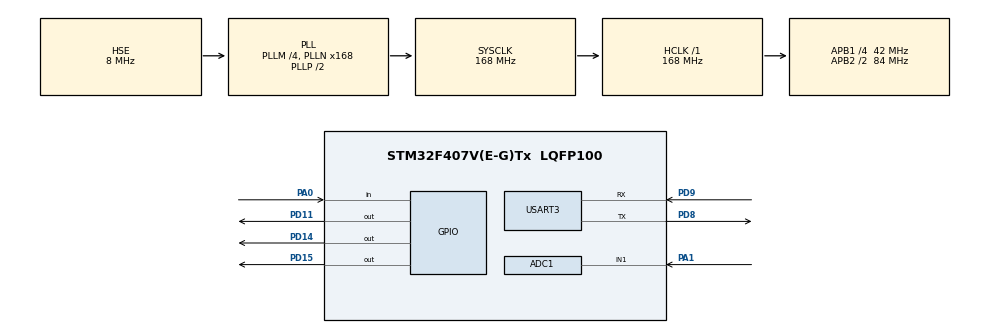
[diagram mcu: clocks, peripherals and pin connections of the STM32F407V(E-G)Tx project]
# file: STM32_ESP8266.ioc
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ADC1.Channel-0\#ChannelRegularConversion=ADC_CHANNEL_1
ADC1.ContinuousConvMode=ENABLE
ADC1.DMAContinuousRequests=ENABLE
ADC1.EOCSelection=ADC_EOC_SEQ_CONV
ADC1.NbrOfConversion=1
ADC1.NbrOfConversionFlag=1
ADC1.Rank-0\#ChannelRegularConversion=1
ADC1.SamplingTime-0\#ChannelRegularConversion=ADC_SAMPLETIME_56CYCLES
ADC1.ScanConvMode=DISABLE
ADC1.master=1
Dma.ADC1.0.Direction=DMA_PERIPH_TO_MEMORY
Dma.ADC1.0.FIFOMode=DMA_FIFOMODE_DISABLE
Dma.ADC1.0.Instance=DMA2_Stream4
Dma.ADC1.0.MemDataAlignment=DMA_MDATAALIGN_HALFWORD
Dma.ADC1.0.MemInc=DMA_MINC_ENABLE
Dma.ADC1.0.Mode=DMA_CIRCULAR
Dma.ADC1.0.PeriphDataAlignment=DMA_PDATAALIGN_HALFWORD
Dma.ADC1.0.PeriphInc=DMA_PINC_DISABLE
Dma.ADC1.0.Priority=DMA_PRIORITY_HIGH
Dma.Request0=ADC1
Mcu.Family=STM32F4
Mcu.Name=STM32F407V(E-G)Tx
Mcu.Package=LQFP100
NVIC.DMA2_Stream4_IRQn=true\:0\:0\:false\:false\:true\:false\:true
NVIC.PriorityGroup=NVIC_PRIORITYGROUP_4
NVIC.USART3_IRQn=true\:0\:0\:false\:false\:true\:true\:true
PA0-WKUP.Signal=GPIO_Input
PA1.Signal=ADCx_IN1
PD11.Signal=GPIO_Output
PD14.Signal=GPIO_Output
PD15.Signal=GPIO_Output
PD8.Mode=Asynchronous
PD8.Signal=USART3_TX
PD9.Mode=Asynchronous
PD9.Signal=USART3_RX
PH0-OSC_IN.Mode=HSE-External-Oscillator
PH0-OSC_IN.Signal=RCC_OSC_IN
PH1-OSC_OUT.Mode=HSE-External-Oscillator
PH1-OSC_OUT.Signal=RCC_OSC_OUT
ProjectManager.HeapSize=0x200
ProjectManager.StackSize=0x400
ProjectManager.TargetToolchain=STM32CubeIDE
RCC.48MHZClocksFreq_Value=84000000
RCC.AHBFreq_Value=168000000
RCC.APB1CLKDivider=RCC_HCLK_DIV4
RCC.APB1Freq_Value=42000000
RCC.APB1TimFreq_Value=84000000
RCC.APB2CLKDivider=RCC_HCLK_DIV2
RCC.APB2Freq_Value=84000000
RCC.APB2TimFreq_Value=168000000
RCC.CortexFreq_Value=168000000
RCC.HCLKFreq_Value=168000000
RCC.HSE_VALUE=8000000
RCC.HSI_VALUE=16000000
RCC.LSE_VALUE=32768
RCC.PLLM=4
RCC.PLLN=168
RCC.PLLSourceVirtual=RCC_PLLSOURCE_HSE
RCC.SYSCLKFreq_VALUE=168000000
RCC.SYSCLKSource=RCC_SYSCLKSOURCE_PLLCLK
RCC.VCOOutputFreq_Value=336000000
SH.ADCx_IN1.0=ADC1_IN1,IN1
USART3.VirtualMode=VM_ASYNC
board=custom

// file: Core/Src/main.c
/* USER CODE BEGIN Header */
/**
  ******************************************************************************
  * @file           : main.c
  * @brief          : Main program body
  ******************************************************************************
  * @attention
  *
  * <h2><center>&copy; Copyright (c) 2021 STMicroelectronics.
  * All rights reserved.</center></h2>
  *
  * This software component is licensed by ST under BSD 3-Clause license,
  * the "License"; You may not use this file except in compliance with the
  * License. You may obtain a copy of the License at:
  *                        opensource.org/licenses/BSD-3-Clause
  *
  ******************************************************************************
  */
/* USER CODE END Header */
#include "main.h"

/* USER CODE BEGIN Includes */
#include <stdio.h>
#include <string.h>
/* USER CODE END Includes */

/* USER CODE BEGIN PTD */
char ESP_INIT(void);
char ESP_Check_AT(void);
char ESP_AT_Send(char *Cmd, char CmdSize, char *rData, char RetSize, char trial);
/* USER CODE END PTD */

ADC_HandleTypeDef hadc1;
DMA_HandleTypeDef hdma_adc1;

UART_HandleTypeDef huart3;

/* USER CODE BEGIN PV */
char Uart_RxData[255];
char Uart_TxData[255];
char returnData[25];
char Buffer[255];
char Rx_Cnt=0;
char Rx_Flag=0;
char Rx_Message=0;
char *ptr;
char cnt=0;
char ret;
char button;
int adc_buffer[1];
int adc;
char led1,led2;
unsigned short counter=0;

#define CMD_TRIAL	5

const char ESP_AT_CMD[] = "\r\nAT\r\n\0";
const char ESP_AT_RET[] = "\r\nOK\r\n\0";
const char ESP_MODE_CMD[] = "AT+CWMODE=2\r\n\0";
const char ESP_WIFI_SET_CMD[] = "AT+CWSAP=\"ESP\",\"0123456789\",5,0\r\n\0";
const char ESP_WIFI_IP_CMD[] = "\r\nAT+CIPAP=\"192.168.1.1\",\"192.168.1.1\",\"255.255.255.0\"\r\n\0";
const char ESP_TRSP_CMD[] = "AT+CIPMODE=1\r\n\0";
const char ESP_UDP_CMD[] = "AT+CIPSTART=\"UDP\",\"192.168.1.2\",1001,1001,0\r\n\0";
const char ESP_UDP_RET[] = "\r\nCONNECT\r\n\0";
const char ESP_SEND_CMD[] = "AT+CIPSEND=\r\n\0";
const char ESP_SEND_RET[] = "\r\n>\0";
const char ESP_SEND_OK[] = "SEND OK\r\n\0";

/* USER CODE END PV */

void SystemClock_Config(void);
static void MX_GPIO_Init(void);
static void MX_DMA_Init(void);
static void MX_USART3_UART_Init(void);
static void MX_ADC1_Init(void);

int main(void)
{

  /* MCU Configuration--------------------------------------------------------*/

  /* Reset of all peripherals, Initializes the Flash interface and the Systick. */
  HAL_Init();

  /* Configure the system clock */
  SystemClock_Config();

  /* Initialize all configured peripherals */
  MX_GPIO_Init();
  MX_DMA_Init();
  MX_USART3_UART_Init();
  MX_ADC1_Init();
  /* USER CODE BEGIN 2 */
  __HAL_UART_ENABLE_IT(&huart3,UART_IT_RXNE);

  HAL_ADC_Start_DMA(&hadc1, (uint32_t *)adc_buffer, 1);

start:
  if (ESP_INIT()) goto start;

  /* USER CODE END 2 */

  /* Infinite loop */
  while (1)
  {

    /* USER CODE BEGIN 3 */

	  button = HAL_GPIO_ReadPin(GPIOA,GPIO_PIN_0);
	  led1    = HAL_GPIO_ReadPin(GPIOD,GPIO_PIN_15);
	  led2    = HAL_GPIO_ReadPin(GPIOD,GPIO_PIN_14);
	  adc = adc_buffer[0];

	  if(counter>=2000)
	  {
		  counter = 0;

		  ret = ESP_Check_AT();
		  if(ret==1) goto start;

		  sprintf(Buffer,"MSG:%d ADC:%d BTN:%d LED1:%d LED2:%d\r\n\0",cnt++,adc,button,led1,led2);

		  sprintf(Uart_TxData,"AT+CIPSEND=%d\r\n",strlen(Buffer));
		  ret = ESP_AT_Send(Uart_TxData, strlen(Uart_TxData), ESP_SEND_RET, sizeof(ESP_SEND_RET), CMD_TRIAL);
		  if(ret==1) goto start;

		  ret = ESP_AT_Send(Buffer, strlen(Buffer), ESP_SEND_OK, sizeof(ESP_SEND_OK), CMD_TRIAL);

		  memset(Uart_RxData,0x00,sizeof(Uart_RxData));
	  }

	  if(Rx_Message)
	  {
		  HAL_Delay(50);
		  Rx_Cnt = 0;
		  Rx_Message = 0;

		  if(strstr(Uart_RxData,"LED1 ON") != 0)
		  {
			  HAL_GPIO_WritePin(GPIOD, GPIO_PIN_15, GPIO_PIN_SET);		// Mavi LED ON
		  }
		  if(strstr(Uart_RxData,"LED1 OFF") != 0)
		  {
			  HAL_GPIO_WritePin(GPIOD, GPIO_PIN_15, GPIO_PIN_RESET);	// Mavi LED OFF
		  }
		  if(strstr(Uart_RxData,"LED2 ON") != 0)
		  {
			  HAL_GPIO_WritePin(GPIOD, GPIO_PIN_14, GPIO_PIN_SET);		// Mavi LED ON
		  }
		  if(strstr(Uart_RxData,"LED2 OFF") != 0)
		  {
			  HAL_GPIO_WritePin(GPIOD, GPIO_PIN_14, GPIO_PIN_RESET);	// Mavi LED OFF
		  }

		  memset(Uart_RxData,0x00,sizeof(Uart_RxData));

	  }

	  HAL_Delay(0);
	  counter++;
  }
  /* USER CODE END 3 */
}

void SystemClock_Config(void)
{
  RCC_OscInitTypeDef RCC_OscInitStruct = {0};
  RCC_ClkInitTypeDef RCC_ClkInitStruct = {0};

  /** Configure the main internal regulator output voltage
  */
  __HAL_RCC_PWR_CLK_ENABLE();
  __HAL_PWR_VOLTAGESCALING_CONFIG(PWR_REGULATOR_VOLTAGE_SCALE1);
  /** Initializes the RCC Oscillators according to the specified parameters
  * in the RCC_OscInitTypeDef structure.
  */
  RCC_OscInitStruct.OscillatorType = RCC_OSCILLATORTYPE_HSE;
  RCC_OscInitStruct.HSEState = RCC_HSE_ON;
  RCC_OscInitStruct.PLL.PLLState = RCC_PLL_ON;
  RCC_OscInitStruct.PLL.PLLSource = RCC_PLLSOURCE_HSE;
  RCC_OscInitStruct.PLL.PLLM = 4;
  RCC_OscInitStruct.PLL.PLLN = 168;
  RCC_OscInitStruct.PLL.PLLP = RCC_PLLP_DIV2;
  RCC_OscInitStruct.PLL.PLLQ = 4;
  if (HAL_RCC_OscConfig(&RCC_OscInitStruct) != HAL_OK)
  {
    Error_Handler();
  }
  /** Initializes the CPU, AHB and APB buses clocks
  */
  RCC_ClkInitStruct.ClockType = RCC_CLOCKTYPE_HCLK|RCC_CLOCKTYPE_SYSCLK
                              |RCC_CLOCKTYPE_PCLK1|RCC_CLOCKTYPE_PCLK2;
  RCC_ClkInitStruct.SYSCLKSource = RCC_SYSCLKSOURCE_PLLCLK;
  RCC_ClkInitStruct.AHBCLKDivider = RCC_SYSCLK_DIV1;
  RCC_ClkInitStruct.APB1CLKDivider = RCC_HCLK_DIV4;
  RCC_ClkInitStruct.APB2CLKDivider = RCC_HCLK_DIV2;

  if (HAL_RCC_ClockConfig(&RCC_ClkInitStruct, FLASH_LATENCY_5) != HAL_OK)
  {
    Error_Handler();
  }
}

static void MX_ADC1_Init(void)
{

  ADC_ChannelConfTypeDef sConfig = {0};

  /** Configure the global features of the ADC (Clock, Resolution, Data Alignment and number of conversion)
  */
  hadc1.Instance = ADC1;
  hadc1.Init.ClockPrescaler = ADC_CLOCK_SYNC_PCLK_DIV4;
  hadc1.Init.Resolution = ADC_RESOLUTION_12B;
  hadc1.Init.ScanConvMode = DISABLE;
  hadc1.Init.ContinuousConvMode = ENABLE;
  hadc1.Init.DiscontinuousConvMode = DISABLE;
  hadc1.Init.ExternalTrigConvEdge = ADC_EXTERNALTRIGCONVEDGE_NONE;
  hadc1.Init.ExternalTrigConv = ADC_SOFTWARE_START;
  hadc1.Init.DataAlign = ADC_DATAALIGN_RIGHT;
  hadc1.Init.NbrOfConversion = 1;
  hadc1.Init.DMAContinuousRequests = ENABLE;
  hadc1.Init.EOCSelection = ADC_EOC_SEQ_CONV;
  if (HAL_ADC_Init(&hadc1) != HAL_OK)
  {
    Error_Handler();
  }
  /** Configure for the selected ADC regular channel its corresponding rank in the sequencer and its sample time.
  */
  sConfig.Channel = ADC_CHANNEL_1;
  sConfig.Rank = 1;
  sConfig.SamplingTime = ADC_SAMPLETIME_56CYCLES;
  if (HAL_ADC_ConfigChannel(&hadc1, &sConfig) != HAL_OK)
  {
    Error_Handler();
  }

}

static void MX_USART3_UART_Init(void)
{

  huart3.Instance = USART3;
  huart3.Init.BaudRate = 115200;
  huart3.Init.WordLength = UART_WORDLENGTH_8B;
  huart3.Init.StopBits = UART_STOPBITS_1;
  huart3.Init.Parity = UART_PARITY_NONE;
  huart3.Init.Mode = UART_MODE_TX_RX;
  huart3.Init.HwFlowCtl = UART_HWCONTROL_NONE;
  huart3.Init.OverSampling = UART_OVERSAMPLING_16;
  if (HAL_UART_Init(&huart3) != HAL_OK)
  {
    Error_Handler();
  }

}

static void MX_DMA_Init(void)
{

  /* DMA controller clock enable */
  __HAL_RCC_DMA2_CLK_ENABLE();

  /* DMA interrupt init */
  /* DMA2_Stream4_IRQn interrupt configuration */
  HAL_NVIC_SetPriority(DMA2_Stream4_IRQn, 0, 0);
  HAL_NVIC_EnableIRQ(DMA2_Stream4_IRQn);

}

static void MX_GPIO_Init(void)
{
  GPIO_InitTypeDef GPIO_InitStruct = {0};

  /* GPIO Ports Clock Enable */
  __HAL_RCC_GPIOH_CLK_ENABLE();
  __HAL_RCC_GPIOA_CLK_ENABLE();
  __HAL_RCC_GPIOD_CLK_ENABLE();

  /*Configure GPIO pin Output Level */
  HAL_GPIO_WritePin(GPIOD, GPIO_PIN_11|GPIO_PIN_14|GPIO_PIN_15, GPIO_PIN_RESET);

  /*Configure GPIO pin : PA0 */
  GPIO_InitStruct.Pin = GPIO_PIN_0;
  GPIO_InitStruct.Mode = GPIO_MODE_INPUT;
  GPIO_InitStruct.Pull = GPIO_NOPULL;
  HAL_GPIO_Init(GPIOA, &GPIO_InitStruct);

  /*Configure GPIO pins : PD11 PD14 PD15 */
  GPIO_InitStruct.Pin = GPIO_PIN_11|GPIO_PIN_14|GPIO_PIN_15;
  GPIO_InitStruct.Mode = GPIO_MODE_OUTPUT_PP;
  GPIO_InitStruct.Pull = GPIO_NOPULL;
  GPIO_InitStruct.Speed = GPIO_SPEED_FREQ_LOW;
  HAL_GPIO_Init(GPIOD, &GPIO_InitStruct);

}

/* USER CODE BEGIN 4 */
char ESP_INIT(void)
{
	char ret;

	HAL_GPIO_WritePin(GPIOD, GPIO_PIN_11, GPIO_PIN_RESET);
	HAL_Delay(200);
	HAL_GPIO_WritePin(GPIOD, GPIO_PIN_11, GPIO_PIN_SET);
	HAL_Delay(500);

	ret = ESP_AT_Send(ESP_AT_CMD, sizeof(ESP_AT_CMD), ESP_AT_RET, sizeof(ESP_AT_RET), CMD_TRIAL);
	if(ret==1) return 1;
	ret = ESP_AT_Send(ESP_AT_CMD, sizeof(ESP_AT_CMD), ESP_AT_RET, sizeof(ESP_AT_RET), CMD_TRIAL);
	if(ret==1) return 1;
	HAL_Delay(200);
	ret = ESP_AT_Send(ESP_MODE_CMD, sizeof(ESP_MODE_CMD), ESP_AT_RET, sizeof(ESP_AT_RET), CMD_TRIAL);
	if(ret==1) return 1;
	HAL_Delay(200);
	ret = ESP_AT_Send(ESP_WIFI_SET_CMD, sizeof(ESP_WIFI_SET_CMD), ESP_AT_RET, sizeof(ESP_AT_RET), CMD_TRIAL);
	if(ret==1) return 1;
	HAL_Delay(200);
	ret = ESP_AT_Send(ESP_WIFI_IP_CMD, sizeof(ESP_WIFI_IP_CMD), ESP_AT_RET, sizeof(ESP_AT_RET), CMD_TRIAL);
	if(ret==1) return 1;
	HAL_Delay(200);
	ret = ESP_AT_Send(ESP_UDP_CMD, sizeof(ESP_UDP_CMD), ESP_UDP_RET, sizeof(ESP_UDP_RET), CMD_TRIAL);
	if(ret==1) return 1;
	HAL_Delay(200);

	memset(Uart_RxData,0x00,sizeof(Uart_RxData));

	return 0;
}

char ESP_Check_AT(void)
{
	char ret;

	ret = ESP_AT_Send(ESP_AT_CMD, sizeof(ESP_AT_CMD), ESP_AT_RET, sizeof(ESP_AT_RET), CMD_TRIAL);
	if(ret==1) return 1;

	return 0;
}

char ESP_AT_Send(char *Cmd, char CmdSize, char *rData, char RetSize, char trial)
{
    char cnt=0;

	memset(returnData,0x00,sizeof(returnData));
	memcpy(returnData,rData,RetSize);

    while(cnt<trial)
    {

    	Rx_Cnt = 0;
        memset(Uart_RxData,0x00,sizeof(Uart_RxData));
        HAL_UART_Transmit(&huart3, (uint8_t*)Cmd, CmdSize, 50);
        HAL_Delay(50);
        if(Rx_Flag)
        {
        	Rx_Flag = 0;
        	return 0;
        }
    	cnt++;
    }

    return 1;
}

/* USER CODE END 4 */

void Error_Handler(void)
{
  __disable_irq();
  while (1)
  {
  }
}

/************************ (C) COPYRIGHT STMicroelectronics *****END OF FILE****/
